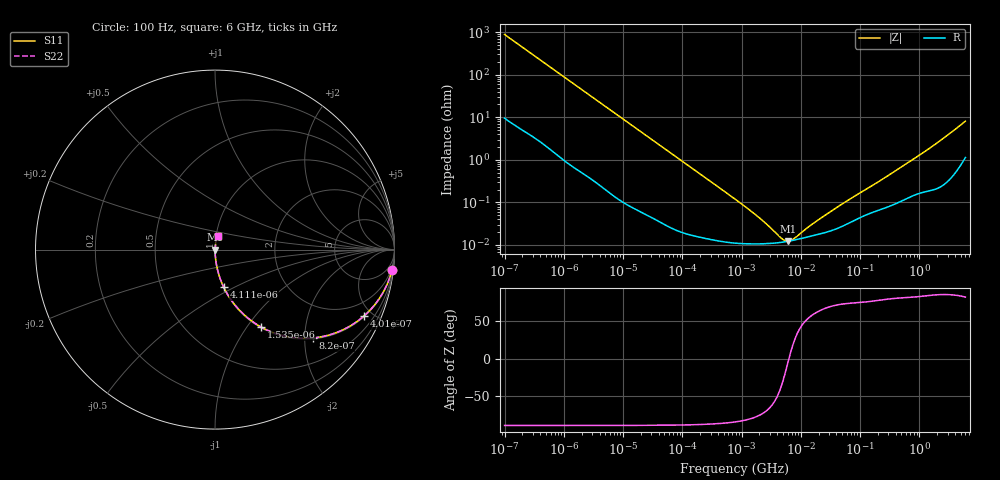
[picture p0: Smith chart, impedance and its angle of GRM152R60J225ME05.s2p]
!Murata Part Number: GRM152R60J225ME05
!These Parameters are Measured in Series Mode Connection
!Data Generated on Mar 30, 2021
!  o--ll--o
!Port1  Port2
!  o------o
!Operation Temp=25[degC], DC Bias Voltage=0[V]
!Freq. Start=100[Hz] Stop=6[GHz] 401[Steps]
# Hz S RI R 50
!Freq.(Hz) S11(Real) S11(Imag) S21(Real) S21(Imag) S12(Real) S12(Imag) S22(Real) S22(Imag)
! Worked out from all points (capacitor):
!   401 points, 100 Hz to 6 GHz, reference 50 ohm
!   read as one part in series: C = 1.8 uF near 109 Hz
!   lowest |Z| = 12.2 mohm at 6.075 MHz (marker M1)
!   series resonance near 6.309 MHz, so ESL is about 350 pH
!   S11 on the Smith chart (normalised r, x): 100 Hz: 1, -18; 401 Hz: 1.05, -4.45; 820 Hz: 1.02, -2.19; 1.535 kHz: 1.01, -1.17; 4.111 kHz: 1.00, -0.44; 6 GHz: 1.02, +0.16
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100  0.9862 -0.1116  0.0138 0.1116  0.0138 0.1116  0.9862 -0.1116
224  0.9378 -0.2359  0.0622 0.2359  0.0622 0.2359  0.9378 -0.2359
401  0.829 -0.3706  0.171 0.3706  0.171 0.3706  0.829 -0.3706
548  0.7244 -0.441  0.2756 0.441  0.2756 0.441  0.7244 -0.441
820  0.5439 -0.4926  0.4561 0.4926  0.4561 0.4926  0.5439 -0.4926
1122  0.3917 -0.4828  0.6083 0.4828  0.6083 0.4828  0.3917 -0.4828
1535  0.258 -0.4322  0.742 0.4322  0.742 0.4322  0.258 -0.4322
2008  0.1705 -0.3705  0.8295 0.3705  0.8295 0.3705  0.1705 -0.3705
4111  0.0485 -0.2093  0.9515 0.2093  0.9515 0.2093  0.0485 -0.2093
11009  0.00771 -0.0821  0.9923 0.0821  0.9923 0.0821  0.00771 -0.0821
40335  0.000874 -0.0228  0.9991 0.0228  0.9991 0.0228  0.000874 -0.0228
774597  0.000112 -0.00119  0.9999 0.00119  0.9999 0.00119  0.000112 -0.00119
2074311  0.000106 -0.000401  0.9999 0.000401  0.9999 0.000401  0.000106 -0.000401
4643984  0.000115 -8.96e-05  0.9999 8.96e-05  0.9999 8.96e-05  0.000115 -8.96e-05
5311619  0.000118 -4.93e-05  0.9999 4.93e-05  0.9999 4.93e-05  0.000118 -4.93e-05
6075234  0.000122 -1.06e-05  0.9999 1.06e-05  0.9999 1.06e-05  0.000122 -1.06e-05
7599586  0.00013 5.18e-05  0.9999 -5.18e-05  0.9999 -5.18e-05  0.00013 5.18e-05
1.555665e7  0.000164 0.000261  0.9998 -0.000261  0.9998 -0.000261  0.000164 0.000261
5.211241e7  0.000282 0.000913  0.9997 -0.000913  0.9997 -0.000913  0.000282 0.000913
3.124326e8  0.000826 0.00438  0.9992 -0.00438  0.9992 -0.00438  0.000826 0.00438
1.431855e9  0.00216 0.0178  0.9978 -0.0178  0.9978 -0.0178  0.00216 0.0178
6e9  0.0174 0.0781  0.9826 -0.0781  0.9826 -0.0781  0.0174 0.0781
